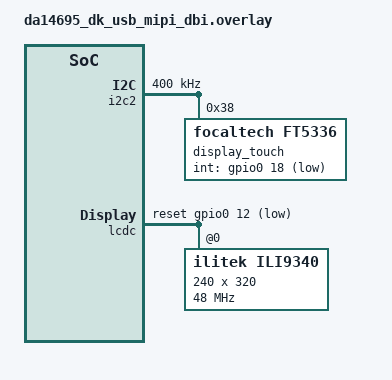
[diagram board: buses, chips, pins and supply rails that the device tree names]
/*
 * Copyright (c) 2023 Renesas Electronics Corporation
 *
 * SPDX-License-Identifier: Apache-2.0
 */

#include <zephyr/dt-bindings/display/ili9xxx.h>
#include <zephyr/dt-bindings/gpio/gpio.h>

/ {
	chosen {
		zephyr,display = &ili9340;
		zephyr,touch = &display_touch;
	};

	lvgl_pointer {
		input = <&display_touch>;
		swap-xy;
		invert-x;
		invert-y;
		status = "okay";
	};
};

&i2c2 {
	clock-frequency = <400000>;
	status = "okay";

	display_touch: ft6206@38 {
		compatible = "focaltech,ft5336";
		reg = <0x38>;
		int-gpios = <&gpio0 18 GPIO_ACTIVE_LOW>;
		status = "okay";
	};
};

&lcdc {
	compatible = "renesas,smartbond-mipi-dbi";
	reset-gpios = <&gpio0 12 GPIO_ACTIVE_LOW>;
	pinctrl-0 = <&mipi_dbi_default>;
	pinctrl-1 = <&mipi_dbi_read>;
	pinctrl-2 = <&mipi_dbi_sleep>;
	pinctrl-names = "default", "read", "sleep";
	#address-cells = <1>;
	#size-cells = <0>;
	status = "okay";

	ili9340: ili9340@0 {
		compatible = "ilitek,ili9340";
		reg = <0>;
		mipi-max-frequency = <48000000>;
		width = <240>;
		height = <320>;
		pixel-format = <ILI9XXX_PIXEL_FORMAT_RGB565>;
		rotation = <0>;
		status = "okay";
	};
};
